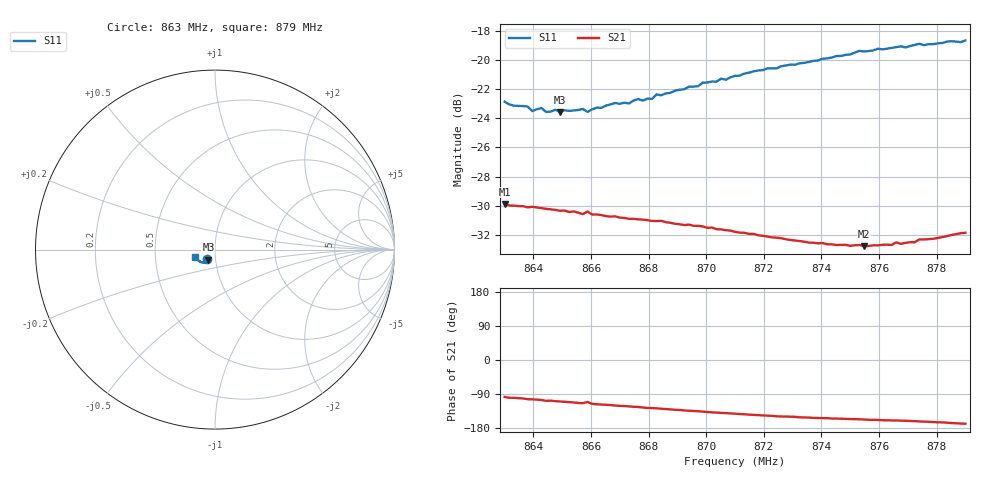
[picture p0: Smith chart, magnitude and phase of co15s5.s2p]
# HZ S RI R 50
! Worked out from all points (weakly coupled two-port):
!   101 points, 863 MHz to 879 MHz, reference 50 ohm
!   highest |S21| = -29.88 dB at 863 MHz (marker M1); lowest = -32.8 dB at 875.48 MHz (marker M2)
!   lowest |S11| = -23.6 dB at 864.92 MHz (marker M3), VSWR 1.14, Z = 46.2 - j5.13 ohm
!   |S11| at or under -10 dB: start of sweep to end of sweep
!   S12 and S22 are empty: the file has one direction only
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8.63e8  -0.0469 -0.0546  -0.00419 -0.0318  0 0  0 0
8.638e8  -0.0416 -0.0553  -0.0073 -0.0303  0 0  0 0
8.6396e8  -0.0391 -0.0542  -0.0075 -0.0304  0 0  0 0
8.6428e8  -0.0391 -0.0561  -0.00835 -0.0299  0 0  0 0
8.6444e8  -0.0398 -0.0531  -0.00938 -0.0294  0 0  0 0
8.6476e8  -0.0383 -0.0556  -0.00976 -0.029  0 0  0 0
8.6492e8  -0.0367 -0.0553  -0.0101 -0.0286  0 0  0 0
8.6572e8  -0.0353 -0.0581  -0.012 -0.027  0 0  0 0
8.6588e8  -0.0309 -0.0588  -0.0106 -0.0283  0 0  0 0
8.6604e8  -0.0349 -0.0581  -0.0128 -0.0265  0 0  0 0
8.6684e8  -0.0358 -0.0616  -0.0147 -0.0251  0 0  0 0
8.6732e8  -0.0349 -0.0618  -0.0153 -0.024  0 0  0 0
8.6764e8  -0.036 -0.0641  -0.0159 -0.0236  0 0  0 0
8.678e8  -0.0358 -0.0631  -0.0163 -0.0231  0 0  0 0
8.6812e8  -0.0364 -0.064  -0.0168 -0.0225  0 0  0 0
8.6828e8  -0.037 -0.0667  -0.0171 -0.0222  0 0  0 0
8.6844e8  -0.0369 -0.0662  -0.0175 -0.0219  0 0  0 0
8.71e8  -0.0494 -0.0732  -0.0202 -0.0159  0 0  0 0
8.7372e8  -0.0674 -0.0731  -0.021 -0.0108  0 0  0 0
8.7548e8  -0.0833 -0.0672  -0.0211 -0.00897  0 0  0 0
8.7644e8  -0.0914 -0.0615  -0.0217 -0.00813  0 0  0 0
8.79e8  -0.1102 -0.0388  -0.025 -0.00527  0 0  0 0
